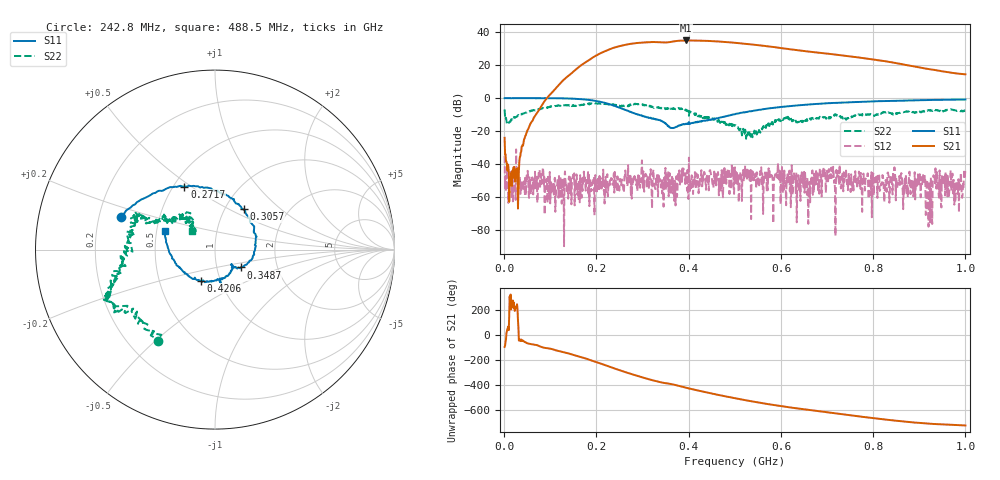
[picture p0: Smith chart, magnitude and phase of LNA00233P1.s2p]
! Created with skrf 1.9.0 (http://scikit-rf.org).
# Hz S RI R 50.0
!freq ReS11 ImS11 ReS21 ImS21 ReS12 ImS12 ReS22 ImS22
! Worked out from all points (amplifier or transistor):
!   1001 points, 1 MHz to 1 GHz, reference 50 ohm
!   highest |S21| = 35.0 dB at 394.6 MHz (marker M1)
!   |S21| within 3 dB of that: 256.8 MHz to 555.1 MHz (298.3 MHz wide, 73.5 % of centre)
!   unconditionally stable (mu >= 1): start of sweep to 94.78 MHz; 299.4 MHz to 400.4 MHz; 400.8 MHz to end of sweep (the widest 3 of 30)
!   at 166.8 MHz: K = 3.93, MAG = 30.1 dB, |S12| = -58.0 dB
!   at 500.5 MHz: K = 1.38, MAG = 34.1 dB, |S12| = -42.0 dB
!   at 1 GHz: K = 1.64, MAG = 23.7 dB, |S12| = -42.3 dB
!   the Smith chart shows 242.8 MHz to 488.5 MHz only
!   S11 on the Smith chart (normalised r, x): 242.8 MHz: 0.29, +0.15; 271.7 MHz: 0.57, +0.47; 305.7 MHz: 1.22, +0.59; 348.7 MHz: 1.30, -0.27; 420.6 MHz: 0.81, -0.29; 488.5 MHz: 0.56, +0.12
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1000000  0.9898 0.00878  -0.00621 -0.0621  -0.0165 -0.00628  0.3043 0.3374
1.07893e8  0.5116 -0.8529  -0.7979 -1.509  7.5e-05 -0.00118  0.4167 -0.3885
1.67833e8  -0.2687 -0.8846  -10.11 -0.2734  -0.000592 0.000737  0.0284 -0.6298
2.08792e8  -0.6781 -0.3609  -15.25 17.05  0.000678 -0.00364  -0.2078 -0.6506
2.42758e8  -0.5256 0.1803  1.439 35.08  -0.000495 -0.00168  -0.3187 -0.5099
2.71729e8  -0.1709 0.3506  26.6 34.41  -0.00248 -0.00199  -0.4875 -0.313
3.05695e8  0.1591 0.2241  47.09 12.02  -0.00396 0.00256  -0.5784 -0.213
3.34666e8  0.2184 -0.0287  48.07 -12.26  0.00171 0.00423  -0.499 -0.0572
3.48652e8  0.1424 -0.0992  44.11 -20.27  0.000312 0.00234  -0.4971 0.0157
3.71629e8  0.0955 -0.0901  40.77 -34.65  -0.000346 0.000434  -0.4313 0.1584
3.94606e8  0.0453 -0.1608  26.45 -49.27  0.00384 0.0038  -0.3832 0.1766
4.2058e8  -0.0779 -0.1732  5.292 -55.07  0.0033 0.00261  -0.2382 0.1471
4.5055e8  -0.2082 -0.091  -16.9 -50.98  0.00187 0.00298  -0.1713 0.1716
4.88512e8  -0.2775 0.1022  -35.87 -33.6  0.00119 0.000312  -0.1304 0.1039
5.005e8  -0.2712 0.1759  -39.49 -27  0.0035 -0.00715  -0.1349 0.0703
5.36464e8  -0.1856 0.3544  -41.54 -7.123  0.00318 -0.00441  -0.0671 0.0148
5.83417e8  0.0288 0.5036  -33.25 11.83  0.000105 0.000118  -0.1727 -0.0498
6.21379e8  0.2109 0.5367  -23.13 19.24  0.000226 0.000437  -0.2379 -0.105
6.67333e8  0.4332 0.4849  -11.5 22.09  -0.00121 -0.0046  -0.2482 0.00229
7.55245e8  0.709 0.2486  4.253 17.51  -0.00164 -0.000106  -0.2602 0.0611
8.34166e8  0.815 -0.0181  9.463 8.27  -0.00293 -0.00301  -0.36 0.0351
1e9  0.7122 -0.562  5.264 -0.2642  -0.00653 0.00395  -0.2513 0.3281
